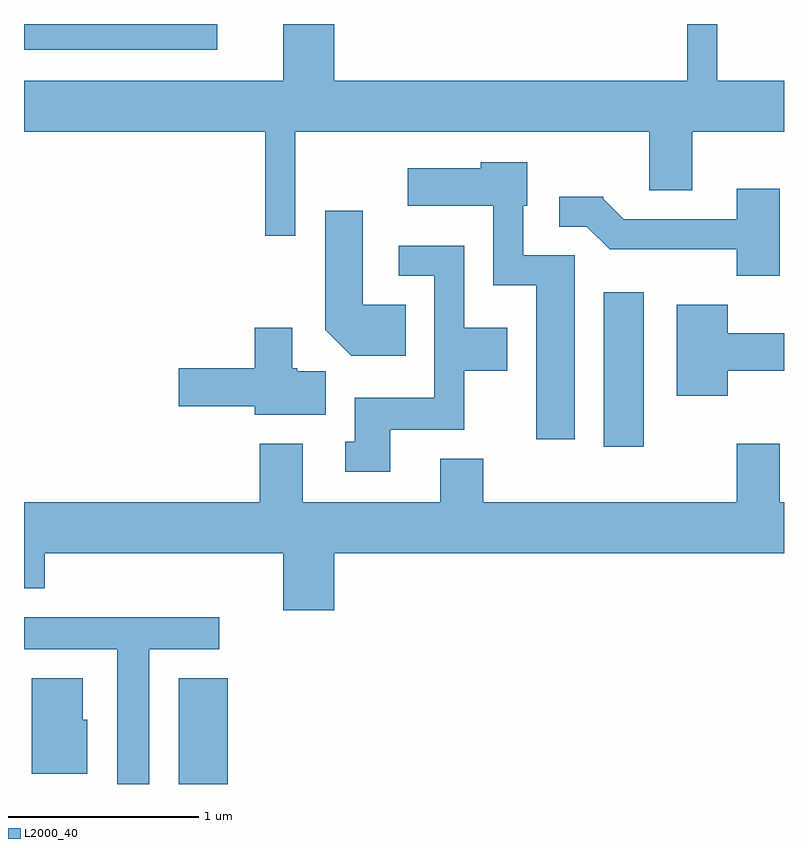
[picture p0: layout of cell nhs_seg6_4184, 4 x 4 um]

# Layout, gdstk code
import gdstk
lib = gdstk.Library(unit=1e-6, precision=1e-09)
def R(c, l, rs):  # rectangles x0, y0, x1, y1
    for r in rs: c.add(gdstk.rectangle(r[:2], r[2:], *l))
def P(c, l, *ps):  # polygons
    for p in ps: c.add(gdstk.Polygon(p, *l))
L2000_40 = (2000, 40)

nhs_seg6_4184 = lib.new_cell('nhs_seg6_4184')
R(nhs_seg6_4184, L2000_40, [(314.426,1542.162,314.684,1542.719), (316.661,1543.936,316.874,1544.749), (313.611,1546.026,314.629,1546.162)])
P(nhs_seg6_4184, L2000_40, [(315.039,1545.596),(316.901,1545.596),(316.901,1545.286),(317.129,1545.286),(317.129,1545.596),(317.611,1545.596),(317.611,1545.864),(317.259,1545.864),(317.259,1546.162),(317.101,1546.162),(317.101,1545.864),(315.244,1545.864),(315.244,1546.162),(314.976,1546.162),(314.976,1545.864),(313.611,1545.864),(313.611,1545.596),(314.881,1545.596),(314.881,1545.048),(315.039,1545.048)],
  [(316.509,1544.944),(316.239,1544.944),(316.239,1545.206),(316.259,1545.206),(316.259,1545.434),(316.016,1545.434),(316.016,1545.404),(315.631,1545.404),(315.631,1545.206),(316.081,1545.206),(316.081,1544.786),(316.306,1544.786),(316.306,1543.976),(316.509,1543.976)],
  [(317.589,1545.294),(317.361,1545.294),(317.361,1545.134),(316.767,1545.134),(316.66,1545.241),(316.66,1545.254),(316.428,1545.254),(316.428,1545.096),(316.574,1545.096),(316.694,1544.976),(317.361,1544.976),(317.361,1544.836),(317.589,1544.836)],
  [(315.619,1544.684),(315.394,1544.684),(315.394,1545.179),(315.196,1545.179),(315.196,1544.554),(315.334,1544.416),(315.619,1544.416)],
  [(315.539,1544.026),(315.929,1544.026),(315.929,1544.336),(316.154,1544.336),(316.154,1544.564),(315.929,1544.564),(315.929,1544.994),(315.583,1544.994),(315.583,1544.836),(315.771,1544.836),(315.771,1544.194),(315.351,1544.194),(315.351,1543.964),(315.303,1543.964),(315.303,1543.806),(315.539,1543.806)],
  [(317.314,1544.336),(317.611,1544.336),(317.611,1544.534),(317.314,1544.534),(317.314,1544.684),(317.046,1544.684),(317.046,1544.206),(317.314,1544.206)],
  [(315.199,1544.334),(315.05,1544.334),(315.05,1544.349),(315.024,1544.349),(315.024,1544.564),(314.826,1544.564),(314.826,1544.349),(314.426,1544.349),(314.426,1544.151),(314.826,1544.151),(314.826,1544.106),(315.199,1544.106)],
  [(315.244,1543.376),(317.611,1543.376),(317.611,1543.644),(317.589,1543.644),(317.589,1543.954),(317.361,1543.954),(317.361,1543.644),(316.029,1543.644),(316.029,1543.874),(315.801,1543.874),(315.801,1543.644),(315.079,1543.644),(315.079,1543.954),(314.851,1543.954),(314.851,1543.644),(313.611,1543.644),(313.611,1543.191),(313.719,1543.191),(313.719,1543.376),(314.976,1543.376),(314.976,1543.076),(315.244,1543.076)],
  [(314.269,1542.871),(314.638,1542.871),(314.638,1543.039),(313.611,1543.039),(313.611,1542.871),(314.101,1542.871),(314.101,1542.162),(314.269,1542.162)],
  [(313.944,1542.499),(313.919,1542.499),(313.919,1542.719),(313.651,1542.719),(313.651,1542.216),(313.944,1542.216)])

lib.write_gds('nhs_seg6_4184.gds')
